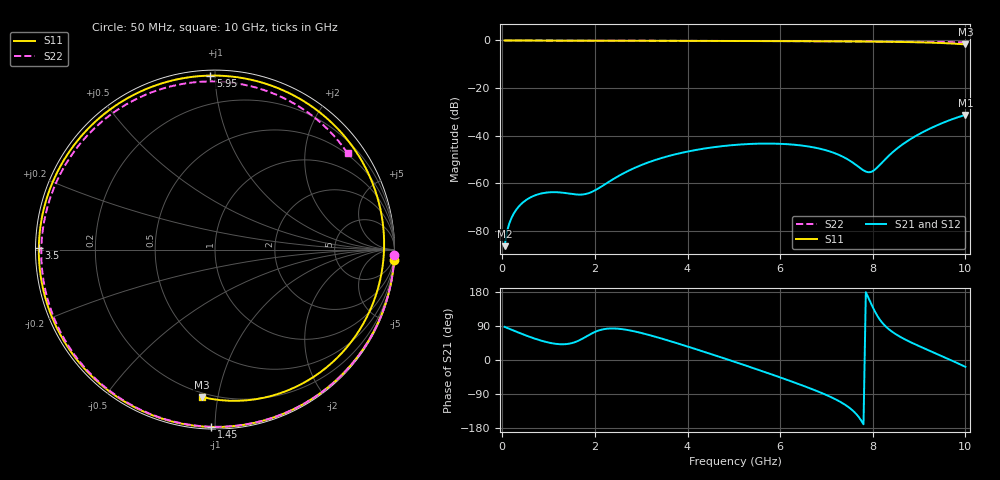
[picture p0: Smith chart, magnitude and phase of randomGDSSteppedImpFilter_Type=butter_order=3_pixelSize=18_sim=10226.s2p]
! freq	dB(S11)	phase(S11)	dB(S12)	phase(S12)
!  dB(S21)	phase(S21)	dB(S22)	phase(S22)
!S-par simulation data
#  GHz  S  DB  R 50
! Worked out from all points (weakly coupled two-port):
!   200 points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, 50 MHz to 10 GHz, reference 50 ohm
!   highest |S21| = -31.23 dB at 10 GHz (marker M1); lowest = -86.3 dB at 50 MHz (marker M2)
!   lowest |S11| = -1.7 dB at 10 GHz (marker M3), VSWR 10.38, Z = 8.78 - j44.9 ohm
!   |S11| at or under -10 dB: nowhere
!   |S22| runs from -0.8 to 0.0 dB; largest |S21 - S12| = 0
!   S11 on the Smith chart (normalised r, x): 50 MHz: 0, -33; 1.45 GHz: 0.01, -0.98; 3.5 GHz: 0.01, +0.00; 5.95 GHz: 0.03, +0.97; 10 GHz: 0.18, -0.90
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0.05  -0.00 -3.5  -86.33 87.5  -86.33 87.5  -0.00 -1.7
0.1  -0.01 -6.9  -80.33 84.9  -80.33 84.9  -0.00 -3.5
0.2  -0.02 -13.8  -74.41 79.8  -74.41 79.8  -0.01 -6.9
0.3  -0.03 -20.6  -71.06 74.8  -71.06 74.8  -0.02 -10.3
0.55  -0.05 -37.2  -66.51 62.9  -66.51 62.9  -0.03 -18.9
1  -0.08 -65.5  -63.74 46.0  -63.74 46.0  -0.04 -34.0
1.45  -0.10 -91.2  -64.27 43.2  -64.27 43.2  -0.06 -48.9
1.75  -0.11 -106.8  -64.60 57.6  -64.60 57.6  -0.07 -58.5
2.55  -0.14 -143.4  -56.45 82.0  -56.45 82.0  -0.10 -83.0
3.4  -0.16 -176.8  -49.57 58.0  -49.57 58.0  -0.13 -107.4
3.5  -0.16 179.5  -48.99 54.4  -48.99 54.4  -0.14 -110.2
4.25  -0.19 152.5  -45.72 25.9  -45.72 25.9  -0.17 -130.5
5.05  -0.22 124.2  -43.79 -6.2  -43.79 -6.2  -0.21 -151.6
5.95  -0.27 91.6  -43.34 -43.7  -43.34 -43.7  -0.27 -175.4
6.7  -0.32 62.9  -44.79 -77.4  -44.79 -77.4  -0.33 163.9
7.3  -0.37 38.9  -48.28 -110.5  -48.28 -110.5  -0.39 146.0
7.9  -0.46 13.8  -55.30 166.0  -55.30 166.0  -0.45 126.5
8.05  -0.49 7.3  -54.14 127.1  -54.14 127.1  -0.46 121.3
8.35  -0.55 -5.9  -48.30 80.9  -48.30 80.9  -0.50 110.4
9.15  -0.85 -44.0  -37.77 28.6  -37.77 28.6  -0.61 77.7
9.6  -1.17 -68.8  -33.90 4.5  -33.90 4.5  -0.70 56.5
10  -1.68 -95.1  -31.23 -18.1  -31.23 -18.1  -0.79 36.0
